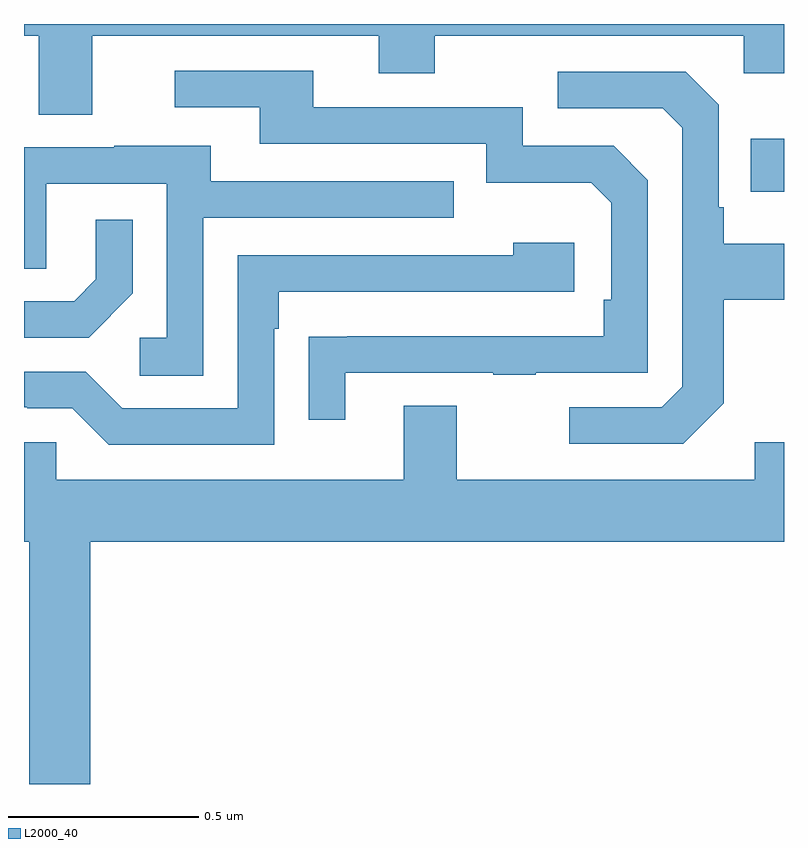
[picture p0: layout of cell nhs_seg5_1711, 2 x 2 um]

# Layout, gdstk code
import gdstk
lib = gdstk.Library(unit=1e-6, precision=1e-09)
def R(c, l, rs):  # rectangles x0, y0, x1, y1
    for r in rs: c.add(gdstk.rectangle(r[:2], r[2:], *l))
def P(c, l, *ps):  # polygons
    for p in ps: c.add(gdstk.Polygon(p, *l))
L2000_40 = (2000, 40)

nhs_seg5_1711 = lib.new_cell('nhs_seg5_1711')
R(nhs_seg5_1711, L2000_40, [(135.913,848.357,136,848.497)])
P(nhs_seg5_1711, L2000_40, [(134.179,848.768),(134.933,848.768),(134.933,848.669),(135.081,848.669),(135.081,848.768),(135.894,848.768),(135.894,848.669),(136,848.669),(136,848.799),(134,848.799),(134,848.768),(134.039,848.768),(134.039,848.56),(134.179,848.56)],
  [(134.845,847.881),(135.235,847.881),(135.235,847.876),(135.347,847.876),(135.347,847.881),(135.642,847.881),(135.642,848.388),(135.552,848.478),(135.312,848.478),(135.312,848.58),(134.761,848.58),(134.761,848.676),(134.397,848.676),(134.397,848.58),(134.621,848.58),(134.621,848.484),(135.216,848.484),(135.216,848.381),(135.493,848.381),(135.546,848.328),(135.546,848.074),(135.526,848.074),(135.526,847.977),(134.851,847.977),(134.851,847.976),(134.749,847.976),(134.749,847.758),(134.845,847.758)],
  [(135.841,847.801),(135.841,848.074),(136,848.074),(136,848.221),(135.841,848.221),(135.841,848.317),(135.828,848.317),(135.828,848.586),(135.741,848.673),(135.405,848.673),(135.405,848.577),(135.681,848.577),(135.732,848.526),(135.732,847.845),(135.678,847.791),(135.435,847.791),(135.435,847.695),(135.735,847.695)],
  [(134.472,848.289),(135.131,848.289),(135.131,848.385),(134.491,848.385),(134.491,848.479),(134.237,848.479),(134.237,848.475),(134,848.475),(134,848.155),(134.058,848.155),(134.058,848.379),(134.376,848.379),(134.376,847.974),(134.304,847.974),(134.304,847.873),(134.472,847.873)],
  [(134.286,848.09),(134.286,848.284),(134.189,848.284),(134.189,848.127),(134.132,848.07),(134,848.07),(134,847.974),(134.17,847.974)],
  [(134.658,847.997),(134.671,847.997),(134.671,848.094),(135.448,848.094),(135.448,848.224),(135.287,848.224),(135.287,848.19),(134.562,848.19),(134.562,847.788),(134.259,847.788),(134.163,847.884),(134,847.884),(134,847.791),(134.009,847.791),(134.009,847.788),(134.127,847.788),(134.223,847.692),(134.658,847.692)],
  [(134.174,847.436),(136,847.436),(136,847.699),(135.923,847.699),(135.923,847.6),(135.139,847.6),(135.139,847.795),(134.999,847.795),(134.999,847.6),(134.085,847.6),(134.085,847.698),(134,847.698),(134,847.436),(134.014,847.436),(134.014,846.799),(134.174,846.799)])

lib.write_gds('nhs_seg5_1711.gds')
